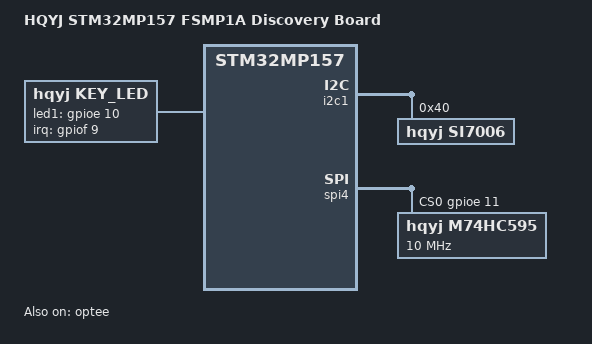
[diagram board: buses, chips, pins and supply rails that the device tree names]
/dts-v1/;
#include "stm32mp157.dtsi"
#include "stm32mp15xa.dtsi"
#include "stm32mp15-pinctrl.dtsi"
#include "stm32mp15xxac-pinctrl.dtsi"
#include "stm32mp15xx-fsmp1x.dtsi" 
/ {
	model = "HQYJ STM32MP157 FSMP1A Discovery Board";
	compatible = "st,stm32mp157a-dk1", "st,stm32mp157";

	aliases {
		serial0 = &uart4;
		serial5 = &usart3;
	};

	chosen {
		stdout-path = "serial0:115200n8";
	};

	reserved-memory {
gpu_reserved: gpu@da000000 {
				  reg = <0xda000000 0x4000000>;
				  no-map;
			  };

optee_memory: optee@0xde000000 {
				  reg = <0xde000000 0x02000000>;
				  no-map;
			  };
	};
	
	mynode@0x12345678{
		strings = "hello","21081";
		uint    = <0xaabbccdd 0x1234>;
		barray  = [00 0c 29 7b f9 be];
		mixed   = "hello",<0x112233>,[11];
	};	

	myleds{
		compatible = "hqyj,leds";
		core-leds{
			led1 = <&gpioz 5 0>;
			led2 = <&gpioz 6 0>;
			led3 = <&gpioz 7 0>;
		};
		extend-leds{
			led1 = <&gpioe 10 0>;
			led2 = <&gpiof 10 0>;
			led3 = <&gpioe 8 0>;

		};
	};
	keys{
		interrupt-parent = <&gpiof>;
		interrupts = <9 0>,<7 0>,<8 0>;
	};
	key_led{
		compatible = "hqyj,key_led";
		led1 = <&gpioe 10 0>;
		interrupt-parent = <&gpiof>;
		interrupts = <9 0>,<7 0>,<8 0>;
	};
	myplatform{
		compatible = "hqyj,hello2";
		beef1 = <&gpiob 6 0>;	
		led1 = <&gpioe 10 0>;
		led2 = <&gpiof 10 0>;
		led3 = <&gpioe 8 0>;
		led4 = <&gpioz 5 0>;
		led5 = <&gpioz 6 0>;
		led6 = <&gpioz 7 0>;

		reg = <0x12345678 0x40>;
		interrupt-parent = <&gpiof>;
		interrupts = <9 0>;
	};
};

&optee {
	status = "okay";
};

&i2c1 {
	pinctrl-names = "default", "sleep";
	pinctrl-0 = <&i2c1_pins_b>;     //===>工作状态复用功能
	pinctrl-1 = <&i2c1_sleep_pins_b>;//===>设置管脚休眠
	i2c-scl-rising-time-ns = <100>; //上升沿的时间
	i2c-scl-falling-time-ns = <7>;  //下降沿的时间
	status = "okay";                //控制器使能
	/delete-property/dmas;          //不使用dma功能
	/delete-property/dma-names;

	si7006@40 {                    //si7006节点
		compatible = "hqyj,si7006";
		reg = <0x40>;
	};
};

&spi4{
	pinctrl-names = "default", "sleep";
	pinctrl-0 = <&spi4_pins_b>;
	pinctrl-1 = <&spi4_sleep_pins_b>;     
	cs-gpios = <&gpioe 11 0>;
	status = "okay";

	m74hc595@0{
		compatible = "hqyj,m74hc595";
		reg = <0>;
		spi-max-frequency = <10000000>; //10Mhz
	};
};
